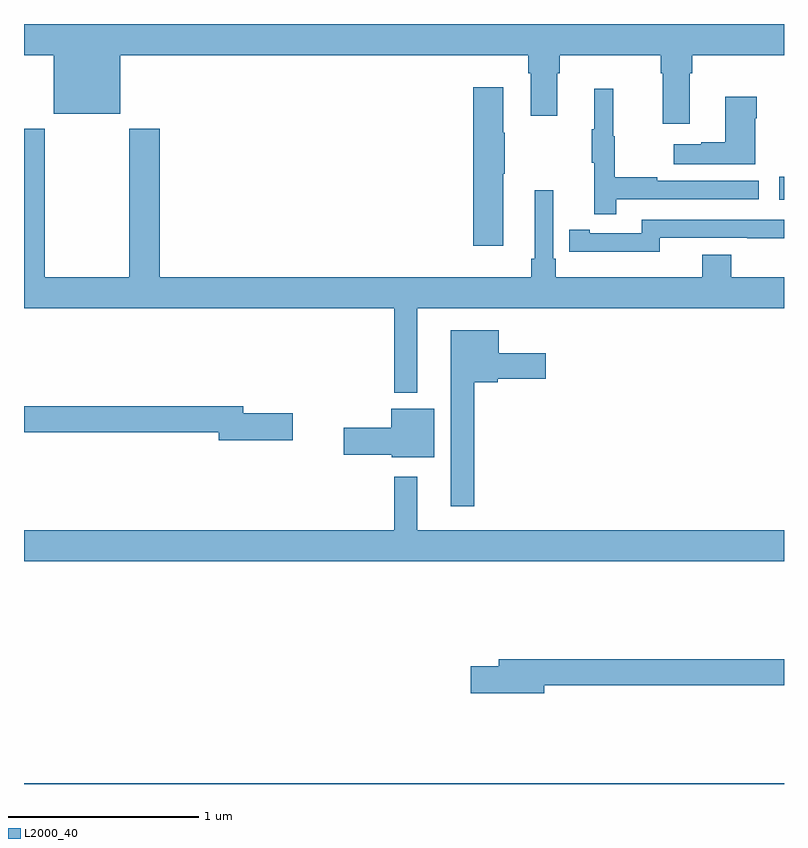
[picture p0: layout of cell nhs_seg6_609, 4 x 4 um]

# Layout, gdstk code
import gdstk
lib = gdstk.Library(unit=1e-6, precision=1e-09)
def R(c, l, rs):  # rectangles x0, y0, x1, y1
    for r in rs: c.add(gdstk.rectangle(r[:2], r[2:], *l))
def P(c, l, *ps):  # polygons
    for p in ps: c.add(gdstk.Polygon(p, *l))
L2000_40 = (2000, 40)

nhs_seg6_609 = lib.new_cell('nhs_seg6_609')
R(nhs_seg6_609, L2000_40, [(149,943.5,153,943.504), (152.976,946.575,153,946.695)])
P(nhs_seg6_609, L2000_40, [(152.503,947.24),(152.516,947.24),(152.516,947.336),(153,947.336),(153,947.5),(149,947.5),(149,947.336),(149.156,947.336),(149.156,947.027),(149.506,947.027),(149.506,947.336),(151.655,947.336),(151.655,947.24),(151.667,947.24),(151.667,947.016),(151.807,947.016),(151.807,947.24),(151.82,947.24),(151.82,947.336),(152.351,947.336),(152.351,947.24),(152.363,947.24),(152.363,946.974),(152.503,946.974)],
  [(151.522,946.711),(151.53,946.711),(151.53,946.928),(151.522,946.928),(151.522,947.167),(151.364,947.167),(151.364,946.332),(151.522,946.332)],
  [(152.117,946.578),(152.866,946.578),(152.866,946.674),(152.333,946.674),(152.333,946.694),(152.11,946.694),(152.11,946.908),(152.102,946.908),(152.102,947.158),(152,947.158),(152,946.945),(151.989,946.945),(151.989,946.771),(152,946.771),(152,946.5),(152.117,946.5)],
  [(152.848,947.003),(152.856,947.003),(152.856,947.116),(152.69,947.116),(152.69,946.877),(152.564,946.877),(152.564,946.867),(152.421,946.867),(152.421,946.763),(152.848,946.763)],
  [(151.069,946.004),(153,946.004),(153,946.168),(152.723,946.168),(152.723,946.285),(152.57,946.285),(152.57,946.168),(151.799,946.168),(151.799,946.264),(151.785,946.264),(151.785,946.624),(151.688,946.624),(151.688,946.264),(151.669,946.264),(151.669,946.168),(149.714,946.168),(149.714,946.948),(149.554,946.948),(149.554,946.168),(149.109,946.168),(149.109,946.948),(149,946.948),(149,946.004),(150.948,946.004),(150.948,945.56),(151.069,945.56)],
  [(152.346,946.374),(152.806,946.374),(152.806,946.373),(153,946.373),(153,946.47),(152.25,946.47),(152.25,946.398),(151.978,946.398),(151.978,946.418),(151.87,946.418),(151.87,946.302),(151.978,946.302),(151.978,946.301),(152.346,946.301)],
  [(151.369,945.614),(151.494,945.614),(151.494,945.632),(151.747,945.632),(151.747,945.766),(151.498,945.766),(151.498,945.889),(151.247,945.889),(151.247,944.961),(151.369,944.961)],
  [(150.415,945.452),(150.154,945.452),(150.154,945.488),(149,945.488),(149,945.352),(150.026,945.352),(150.026,945.31),(150.415,945.31)],
  [(151.159,945.475),(150.932,945.475),(150.932,945.374),(150.684,945.374),(150.684,945.232),(150.936,945.232),(150.936,945.221),(151.159,945.221)],
  [(153,944.836),(151.069,944.836),(151.069,945.118),(150.948,945.118),(150.948,944.836),(149,944.836),(149,944.672),(153,944.672)],
  [(151.738,944.02),(153,944.02),(153,944.156),(151.499,944.156),(151.499,944.12),(151.35,944.12),(151.35,943.978),(151.738,943.978)])

lib.write_gds('nhs_seg6_609.gds')
